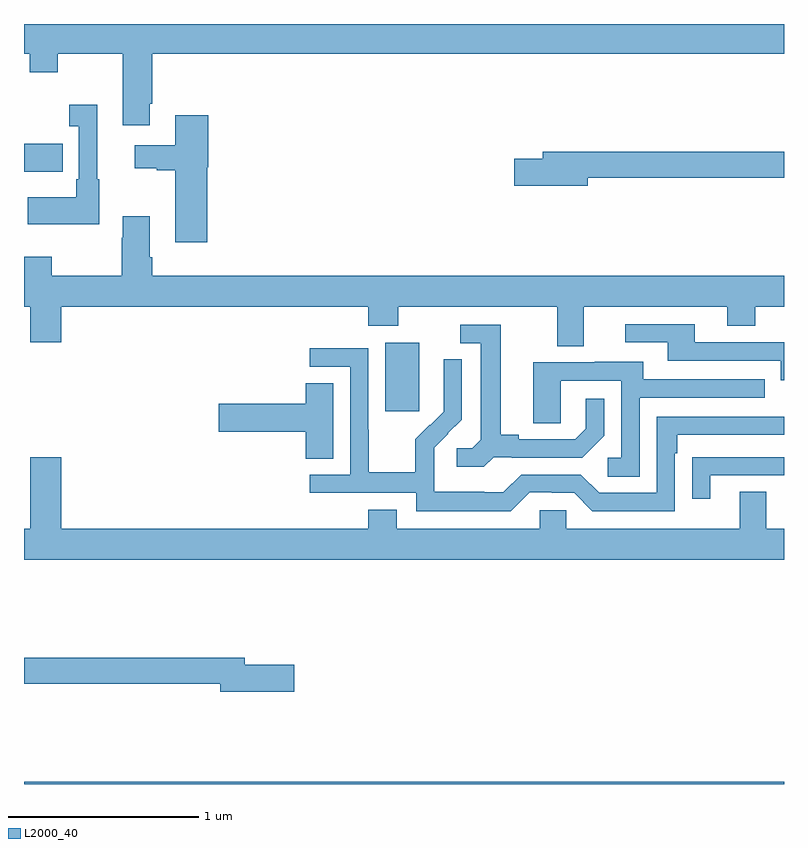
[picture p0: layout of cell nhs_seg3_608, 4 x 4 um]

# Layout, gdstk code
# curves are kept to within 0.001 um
import gdstk
lib = gdstk.Library(unit=1e-6, precision=1e-09)
def R(c, l, rs):  # rectangles x0, y0, x1, y1
    for r in rs: c.add(gdstk.rectangle(r[:2], r[2:], *l))
def P(c, l, *ps):  # polygons
    for p in ps: c.add(gdstk.Polygon(p, *l))
L2000_40 = (2000, 40)

nhs_seg3_608 = lib.new_cell('nhs_seg3_608')
R(nhs_seg3_608, L2000_40, [(141,702.4,145,702.412), (142.901,704.361,143.08,704.722), (141,705.623,141.203,705.771)])
P(nhs_seg3_608, L2000_40, [(145,706.4),(141,706.4),(141,706.244),(141.029,706.244),(141.029,706.145),(141.177,706.145),(141.177,706.244),(141.521,706.244),(141.521,705.867),(141.661,705.867),(141.661,705.979),(141.674,705.979),(141.674,706.244),(145,706.244)],
  [(141.397,705.583),(141.386,705.583),(141.386,705.976),(141.237,705.976),(141.237,705.863),(141.288,705.863),(141.288,705.583),(141.276,705.583),(141.276,705.487),(141.019,705.487),(141.019,705.347),(141.397,705.347)],
  [(141.965,705.645),(141.97,705.645),(141.97,705.919),(141.797,705.919),(141.797,705.763),(141.582,705.763),(141.582,705.641),(141.698,705.641),(141.698,705.629),(141.797,705.629),(141.797,705.252),(141.965,705.252)],
  [(143.968,705.592),(145,705.592),(145,705.728),(143.729,705.728),(143.729,705.692),(143.58,705.692),(143.58,705.55),(143.968,705.55)],
  [(143.947,704.912),(144.701,704.912),(144.701,704.813),(144.849,704.813),(144.849,704.912),(145,704.912),(145,705.076),(141.674,705.076),(141.674,705.172),(141.661,705.172),(141.661,705.388),(141.521,705.388),(141.521,705.275),(141.514,705.275),(141.514,705.076),(141.147,705.076),(141.147,705.175),(141,705.175),(141,704.912),(141.032,704.912),(141.032,704.724),(141.196,704.724),(141.196,704.912),(142.811,704.912),(142.811,704.813),(142.971,704.813),(142.971,704.912),(143.807,704.912),(143.807,704.704),(143.947,704.704)],
  [(145,704.724),(144.529,704.724),(144.529,704.82),(144.165,704.82),(144.165,704.724),(144.389,704.724),(144.389,704.628),(144.984,704.628),(144.984,704.525),(145,704.525)],
  [(143.472,704.121),(143.566,704.121),(143.566,704.118),(143.938,704.118),(144.054,704.234),(144.054,704.428),(143.957,704.428),(143.957,704.271),(143.9,704.214),(143.605,704.214),(143.605,704.237),(143.509,704.237),(143.509,704.817),(143.295,704.817),(143.295,704.721),(143.405,704.721),(143.405,704.213),(143.358,704.166),(143.277,704.166),(143.277,704.069),(143.42,704.069)],
  [(143.661,703.935),(143.777,703.935),(143.777,703.932),(143.895,703.932),(143.991,703.836),(144.426,703.836),(144.426,704.141),(144.439,704.141),(144.439,704.238),(145,704.238),(145,704.334),(144.33,704.334),(144.33,703.932),(144.027,703.932),(143.931,704.028),(143.616,704.028),(143.523,703.935),(143.423,703.935),(143.423,703.939),(143.16,703.939),(143.16,704.073),(143.158,704.073),(143.158,704.17),(143.304,704.318),(143.304,704.636),(143.208,704.636),(143.208,704.482),(143.21,704.482),(143.21,704.36),(143.139,704.289),(143.136,704.292),(143.059,704.215),(143.059,704.041),(142.815,704.041),(142.815,704.264),(142.812,704.264),(142.812,704.694),(142.503,704.694),(142.503,704.595),(142.716,704.595),(142.716,704.028),(142.503,704.028),(142.503,703.932),(143.064,703.932),(143.064,703.835),(143.561,703.835)],
  [(144.24,704.433),(144.899,704.433),(144.899,704.529),(144.259,704.529),(144.259,704.623),(144.005,704.623),(144.005,704.619),(143.681,704.619),(143.681,704.299),(143.826,704.299),(143.826,704.523),(144.144,704.523),(144.144,704.118),(144.072,704.118),(144.072,704.017),(144.24,704.017)],
  [(142.627,704.51),(142.484,704.51),(142.484,704.402),(142.026,704.402),(142.026,704.255),(142.484,704.255),(142.484,704.113),(142.627,704.113)],
  [(144.613,704.025),(145,704.025),(145,704.121),(144.619,704.121),(144.619,704.12),(144.517,704.12),(144.517,703.902),(144.613,703.902)],
  [(145,703.744),(144.907,703.744),(144.907,703.939),(144.767,703.939),(144.767,703.744),(143.853,703.744),(143.853,703.842),(143.715,703.842),(143.715,703.744),(142.963,703.744),(142.963,703.843),(142.811,703.843),(142.811,703.744),(141.196,703.744),(141.196,704.119),(141.032,704.119),(141.032,703.744),(141,703.744),(141,703.58),(145,703.58)],
  [(142.423,703.028),(142.162,703.028),(142.162,703.064),(141,703.064),(141,702.928),(142.034,702.928),(142.034,702.886),(142.423,702.886)])

lib.write_gds('nhs_seg3_608.gds')
